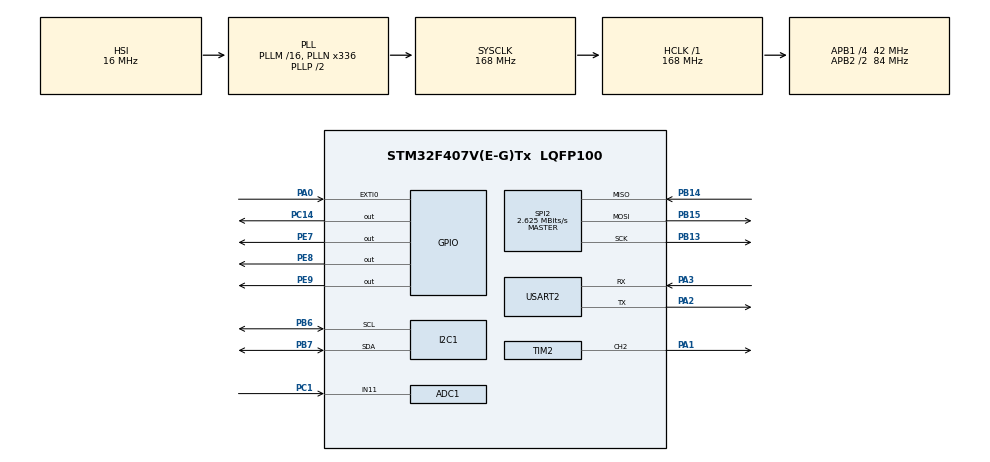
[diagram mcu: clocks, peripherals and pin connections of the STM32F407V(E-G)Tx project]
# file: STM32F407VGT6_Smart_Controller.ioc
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ADC1.Channel-1\#ChannelRegularConversion=ADC_CHANNEL_11
ADC1.ContinuousConvMode=ENABLE
ADC1.DMAContinuousRequests=ENABLE
ADC1.InjNumberOfConversion=0
ADC1.NbrOfConversionFlag=1
ADC1.Rank-1\#ChannelRegularConversion=1
ADC1.SamplingTime-1\#ChannelRegularConversion=ADC_SAMPLETIME_56CYCLES
ADC1.master=1
Dma.ADC1.0.Direction=DMA_PERIPH_TO_MEMORY
Dma.ADC1.0.FIFOMode=DMA_FIFOMODE_DISABLE
Dma.ADC1.0.Instance=DMA2_Stream0
Dma.ADC1.0.MemDataAlignment=DMA_MDATAALIGN_HALFWORD
Dma.ADC1.0.MemInc=DMA_MINC_ENABLE
Dma.ADC1.0.Mode=DMA_CIRCULAR
Dma.ADC1.0.PeriphDataAlignment=DMA_PDATAALIGN_HALFWORD
Dma.ADC1.0.PeriphInc=DMA_PINC_DISABLE
Dma.ADC1.0.Priority=DMA_PRIORITY_LOW
Dma.Request0=ADC1
Dma.Request1=USART2_RX
Dma.USART2_RX.1.Direction=DMA_PERIPH_TO_MEMORY
Dma.USART2_RX.1.FIFOMode=DMA_FIFOMODE_DISABLE
Dma.USART2_RX.1.Instance=DMA1_Stream5
Dma.USART2_RX.1.MemDataAlignment=DMA_MDATAALIGN_BYTE
Dma.USART2_RX.1.MemInc=DMA_MINC_ENABLE
Dma.USART2_RX.1.Mode=DMA_NORMAL
Dma.USART2_RX.1.PeriphDataAlignment=DMA_PDATAALIGN_BYTE
Dma.USART2_RX.1.PeriphInc=DMA_PINC_DISABLE
Dma.USART2_RX.1.Priority=DMA_PRIORITY_LOW
Mcu.Family=STM32F4
Mcu.Name=STM32F407V(E-G)Tx
Mcu.Package=LQFP100
NVIC.DMA1_Stream5_IRQn=true\:0\:0\:false\:false\:true\:false\:true\:true
NVIC.DMA2_Stream0_IRQn=true\:0\:0\:false\:false\:true\:false\:true\:true
NVIC.EXTI0_IRQn=true\:0\:0\:false\:false\:true\:true\:true\:true
NVIC.PriorityGroup=NVIC_PRIORITYGROUP_4
NVIC.USART2_IRQn=true\:0\:0\:false\:false\:true\:true\:true\:true
PA0-WKUP.GPIO_PuPd=GPIO_PULLDOWN
PA0-WKUP.Signal=GPXTI0
PA1.Signal=S_TIM2_CH2
PA13.Mode=Serial_Wire
PA13.Signal=SYS_JTMS-SWDIO
PA14.Mode=Serial_Wire
PA14.Signal=SYS_JTCK-SWCLK
PA2.Mode=Asynchronous
PA2.Signal=USART2_TX
PA3.Mode=Asynchronous
PA3.Signal=USART2_RX
PB13.Mode=Full_Duplex_Master
PB13.Signal=SPI2_SCK
PB14.Mode=Full_Duplex_Master
PB14.Signal=SPI2_MISO
PB15.Mode=Full_Duplex_Master
PB15.Signal=SPI2_MOSI
PB6.Mode=I2C
PB6.Signal=I2C1_SCL
PB7.Mode=I2C
PB7.Signal=I2C1_SDA
PC1.Signal=ADCx_IN11
PC14-OSC32_IN.Signal=GPIO_Output
PE7.PinState=GPIO_PIN_SET
PE7.Signal=GPIO_Output
PE8.Signal=GPIO_Output
PE9.Signal=GPIO_Output
ProjectManager.HeapSize=0x200
ProjectManager.StackSize=0x400
ProjectManager.TargetToolchain=STM32CubeIDE
RCC.48MHZClocksFreq_Value=84000000
RCC.AHBFreq_Value=168000000
RCC.APB1CLKDivider=RCC_HCLK_DIV4
RCC.APB1Freq_Value=42000000
RCC.APB1TimFreq_Value=84000000
RCC.APB2CLKDivider=RCC_HCLK_DIV2
RCC.APB2Freq_Value=84000000
RCC.APB2TimFreq_Value=168000000
RCC.CortexFreq_Value=168000000
RCC.HCLKFreq_Value=168000000
RCC.HSE_VALUE=25000000
RCC.HSI_VALUE=16000000
RCC.LSE_VALUE=32768
RCC.PLLN=336
RCC.SYSCLKFreq_VALUE=168000000
RCC.SYSCLKSource=RCC_SYSCLKSOURCE_PLLCLK
RCC.VCOOutputFreq_Value=336000000
SH.ADCx_IN11.0=ADC1_IN11,IN11
SH.S_TIM2_CH2.0=TIM2_CH2,PWM Generation2 CH2
SPI2.BaudRatePrescaler=SPI_BAUDRATEPRESCALER_16
SPI2.CalculateBaudRate=2.625 MBits/s
SPI2.Direction=SPI_DIRECTION_2LINES
SPI2.Mode=SPI_MODE_MASTER
SPI2.VirtualType=VM_MASTER
TIM2.Channel-PWM\ Generation2\ CH2=TIM_CHANNEL_2
TIM2.Period=999
TIM2.Prescaler=83
USART2.VirtualMode=VM_ASYNC
board=custom

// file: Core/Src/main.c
/* USER CODE BEGIN Header */
/**
  ******************************************************************************
  * @file           : main.c
  * @brief          : Main program body
  ******************************************************************************
  * @attention
  *
  * Copyright (c) 2026 STMicroelectronics.
  * All rights reserved.
  *
  * This software is licensed under terms that can be found in the LICENSE file
  * in the root directory of this software component.
  * If no LICENSE file comes with this software, it is provided AS-IS.
  *
  ******************************************************************************
  */
/* USER CODE END Header */
#include "main.h"

/* USER CODE BEGIN Includes */
#include <stdio.h>
#include <string.h>
#include "protocol.h"
#include "analog_input.h"
#include "pwm.h"
#include "temperature_sensor.h"
#include "oled.h"
#include "system_state.h"
#include "fault_manager.h"
/* USER CODE END Includes */

/* USER CODE BEGIN PD */

#define SENSOR_UPDATE_PERIOD_MS     500U
#define DISPLAY_UPDATE_PERIOD_MS    200U
#define TEMP_SENSOR_FAIL_LIMIT      3U

/* AUTO mode: 25 C = 0%, 40 C = 100% PWM */
#define AUTO_TEMP_MIN_X10          250

#define AUTO_TEMP_MAX_X10          400

/* USER CODE END PD */

ADC_HandleTypeDef hadc1;
DMA_HandleTypeDef hdma_adc1;

I2C_HandleTypeDef hi2c1;

SPI_HandleTypeDef hspi2;

TIM_HandleTypeDef htim2;

UART_HandleTypeDef huart2;
DMA_HandleTypeDef hdma_usart2_rx;

/* USER CODE BEGIN PV */

volatile uint8_t button_event = 0;

volatile uint8_t uart_command_ready = 0;

volatile uint16_t uart_rx_length = 0;

/* Data received by UART DMA */
uint8_t uart_rx_buffer[UART_RX_BUFFER_SIZE + 1U];

/* Stores one complete UART command */
char uart_line_buffer[UART_RX_BUFFER_SIZE + 1U];

static uint16_t uart_line_length = 0U;

/* UART response */
char uart_tx_buffer[UART_TX_BUFFER_SIZE];

/* Result after ASCII parsing. */
ProtocolCommand_t received_command;

/*
 * Latest valid temperature.
 *
 * Unit:
 * Celsius x10
 *
 * 25.5 C = 255
 */
static int16_t latest_temperature_x10 = 0;

/*
 * Software timing.
 */
static uint32_t sensor_tick = 0;
static uint32_t display_tick = 0;
static uint8_t temp_sensor_fail_count = 0;

TempSensorStatus_t debug_temp_init;
TempSensorStatus_t debug_temp_read;

/* USER CODE END PV */

void SystemClock_Config(void);
static void MX_GPIO_Init(void);
static void MX_DMA_Init(void);
static void MX_ADC1_Init(void);
static void MX_I2C1_Init(void);
static void MX_TIM2_Init(void);
static void MX_SPI2_Init(void);
static void MX_USART2_UART_Init(void);
/* USER CODE BEGIN PFP */

static void App_SendText(const char *text);

static void App_StartUartReceive(void);

static const char *App_StateToString(SystemState_t state);

static void App_SendStatus(void);

static void App_ProcessUartCommand(void);

static void App_HandleCommand(void);

static void App_ProcessSensor(void);

static void App_ProcessControl(void);

static void App_ProcessDisplay(void);

static void App_CheckCriticalFault(void);

static void App_AttemptFaultRecovery(void);

/* USER CODE END PFP */

/* USER CODE BEGIN 0 */

static void App_SendText(
    const char *text
)
{
    HAL_UART_Transmit(
        &huart2,

        (uint8_t *)text,

        (uint16_t)strlen(text),

        100
    );
}

static void App_StartUartReceive(void)
{
    uart_rx_length = 0U;

    /*
     * Clear old contents.
     */
    memset(
        uart_rx_buffer,
        0,
        sizeof(uart_rx_buffer)
    );

    /* Start UART DMA receive with IDLE detection */
    HAL_UARTEx_ReceiveToIdle_DMA(
        &huart2,

        uart_rx_buffer,

        UART_RX_BUFFER_SIZE
    );

    /* Half-transfer event is not needed */
    if (huart2.hdmarx != NULL)
    {
        __HAL_DMA_DISABLE_IT(
            huart2.hdmarx,
            DMA_IT_HT
        );
    }
}

static const char *App_StateToString(
    SystemState_t state
)
{
    switch (state)
    {
        case SYSTEM_STATE_INIT:
            return "INIT";

        case SYSTEM_STATE_IDLE:
            return "IDLE";

        case SYSTEM_STATE_MANUAL:
            return "MANUAL";

        case SYSTEM_STATE_AUTO:
            return "AUTO";

        case SYSTEM_STATE_FAULT:
            return "FAULT";

        default:
            return "UNKNOWN";
    }
}

/*
 * Periodically read I2C
 * temperature sensor.
 */
static void App_ProcessSensor(void)
{
    int16_t temperature;

    if ((HAL_GetTick() - sensor_tick) < SENSOR_UPDATE_PERIOD_MS)
    {
        return;
    }

    sensor_tick = HAL_GetTick();

    if (TempSensor_ReadCelsiusX10(&temperature) == TEMP_SENSOR_OK)
    {
        latest_temperature_x10 = temperature;

        /* Sensor is working normally */
        temp_sensor_fail_count = 0U;
    }
    else
    {
        if (temp_sensor_fail_count < TEMP_SENSOR_FAIL_LIMIT)
        {
            temp_sensor_fail_count++;
        }

        /* Enter FAULT after 3 consecutive failures */
        if (temp_sensor_fail_count >= TEMP_SENSOR_FAIL_LIMIT)
        {
            FaultManager_Set(FAULT_TEMP_SENSOR);
        }
    }
}

/*
 * If a critical hardware fault
 * exists, force the system into
 * FAULT state.
 */
static void App_CheckCriticalFault(void)
{
    if (FaultManager_HasCritical())
    {
        if (SystemState_Get() != SYSTEM_STATE_FAULT)
        {
            SystemState_Set(SYSTEM_STATE_FAULT);
        }

        PWM_SetDuty(0);
    }
}

/*
 * System control behavior.
 */
static void App_ProcessControl(void)
{
    SystemState_t state;

    uint8_t duty;

    int32_t temperature;

    state = SystemState_Get();

    switch (state)
    {
        case SYSTEM_STATE_INIT:

            if (PWM_GetDuty() != 0U)
            {
                PWM_SetDuty(0);
            }

            break;

        case SYSTEM_STATE_IDLE:

            if (PWM_GetDuty() != 0U)
            {
                PWM_SetDuty(0);
            }

            break;

		/* MANUAL mode: PWM is controlled by UART command */
        case SYSTEM_STATE_MANUAL:

            break;

        /*
         * AUTO mode:
         *
         * Temperature automatically
         * determines PWM duty.
         */
        case SYSTEM_STATE_AUTO:

            temperature = latest_temperature_x10;

            if (temperature <= AUTO_TEMP_MIN_X10)
            {
                duty = 0U;
            }
            else if (temperature >= AUTO_TEMP_MAX_X10)
            {
                duty = 100U;
            }
            else
            {
                /*
                 * Linear mapping:
                 *
                 * 25 C -> 0%
                 * 40 C -> 100%
                 */
                duty = (uint8_t)(((temperature - AUTO_TEMP_MIN_X10)*100L) /(AUTO_TEMP_MAX_X10 - AUTO_TEMP_MIN_X10));
            }

            PWM_SetDuty(duty);

            break;

        case SYSTEM_STATE_FAULT:

            if (PWM_GetDuty() != 0U)
            {
                PWM_SetDuty(0);
            }

            break;

        default:

            break;
    }
}

/* Re-check hardware after clearing faults */
static void App_AttemptFaultRecovery(void)
{
    FaultManager_ClearAll();

    /*
     * Check temperature sensor.
     */
    if (TempSensor_Init() !=TEMP_SENSOR_OK)
    {
        FaultManager_Set(FAULT_TEMP_SENSOR);
    }

    if (FaultManager_HasCritical())
    {
        SystemState_Set(SYSTEM_STATE_FAULT);

        PWM_SetDuty(0);
    }
    else
    {
        SystemState_Set(SYSTEM_STATE_IDLE);

        PWM_SetDuty(0);
    }
}

static void App_SendStatus(void)
{
    uint16_t fault;
    int32_t temperature;
    int32_t positive_temperature;

    fault = FaultManager_Get();

    temperature = latest_temperature_x10;

    /*
     * Temperature sensor fault
     */
    if ((fault & FAULT_TEMP_SENSOR) != 0U)
    {
        snprintf(
            uart_tx_buffer,
            sizeof(uart_tx_buffer),
            "MODE=%s TEMP=ERR ADC=%u PWM=%u FAULT=0x%04X\r\n",
            App_StateToString(SystemState_Get()),
            (unsigned int)AnalogInput_GetRaw(),
            (unsigned int)PWM_GetDuty(),
            (unsigned int)fault
        );
    }

    /*
     * Negative temperature
     */
    else if (temperature < 0)
    {
        positive_temperature = -temperature;

        snprintf(
            uart_tx_buffer,
            sizeof(uart_tx_buffer),
            "MODE=%s TEMP=-%ld.%ldC ADC=%u PWM=%u FAULT=0x%04X\r\n",
            App_StateToString(SystemState_Get()),
            (long)(positive_temperature / 10),
            (long)(positive_temperature % 10),
            (unsigned int)AnalogInput_GetRaw(),
            (unsigned int)PWM_GetDuty(),
            (unsigned int)fault
        );
    }

    /*
     * Positive temperature
     */
    else
    {
        snprintf(
            uart_tx_buffer,
            sizeof(uart_tx_buffer),
            "MODE=%s TEMP=%ld.%ldC ADC=%u PWM=%u FAULT=0x%04X\r\n",
            App_StateToString(SystemState_Get()),
            (long)(temperature / 10),
            (long)(temperature % 10),
            (unsigned int)AnalogInput_GetRaw(),
            (unsigned int)PWM_GetDuty(),
            (unsigned int)fault
        );
    }

    App_SendText(uart_tx_buffer);
}

static void App_ProcessUartCommand(void)
{
    ProtocolStatus_t status;

    uart_line_buffer[uart_line_length] = '\0';

    status = Protocol_ParseAscii(uart_line_buffer, &received_command);

    if (status == PROTOCOL_OK)
    {
        App_HandleCommand();
    }
    else if (status == PROTOCOL_INVALID_COMMAND)
    {
        FaultManager_Set(FAULT_INVALID_COMMAND);

        App_SendText("ERR UNKNOWN COMMAND\r\n");
    }
    else if (status == PROTOCOL_INVALID_PARAMETER)
    {
        FaultManager_Set(FAULT_INVALID_PARAMETER);

        App_SendText( "ERR INVALID PARAMETER\r\n");
    }

    /* Ready for next command */
    uart_line_length = 0U;

    uart_line_buffer[0] = '\0';
}

/*
 * UART command dispatcher.
 */
static void App_HandleCommand(void)
{
    switch (received_command.command)
    {
        case PROTOCOL_CMD_PING:
        {
            App_SendText("PONG\r\n");

            break;
        }

        case PROTOCOL_CMD_START:
        {
            if (FaultManager_HasCritical())
            {
                App_SendText( "ERR CRITICAL FAULT\r\n");
            }
            else
            {
                SystemState_Set(SYSTEM_STATE_MANUAL);

                App_SendText("OK MODE=MANUAL\r\n");
            }

            break;
        }

        case PROTOCOL_CMD_STOP:
        {
            PWM_SetDuty(0);

            if (SystemState_Get() != SYSTEM_STATE_FAULT)
            {
                SystemState_Set(SYSTEM_STATE_IDLE);
            }

            snprintf(
                uart_tx_buffer,
                sizeof(uart_tx_buffer),

                "OK MODE=%s PWM=0\r\n",

                App_StateToString(
                    SystemState_Get()
                )
            );

            App_SendText( uart_tx_buffer);

            break;
        }

        case PROTOCOL_CMD_SET_PWM:
        {
            uint16_t requested_duty;

            requested_duty = received_command.data;

            if (SystemState_Get() != SYSTEM_STATE_MANUAL)
            {
                App_SendText("ERR MODE NOT MANUAL\r\n");

                break;
            }

            if (requested_duty > 100U)
            {
                FaultManager_Set(FAULT_INVALID_PARAMETER);

                App_SendText("ERR PWM RANGE 0-100\r\n");

                break;
            }

            PWM_SetDuty((uint8_t)requested_duty);

            snprintf(
                uart_tx_buffer,
                sizeof(uart_tx_buffer),

                "OK PWM=%u\r\n",

                (unsigned int)
                    PWM_GetDuty()
            );

            App_SendText(uart_tx_buffer);

            break;
        }

        case PROTOCOL_CMD_GET_STATUS:
        {
            App_SendStatus();

            break;
        }

        case PROTOCOL_CMD_AUTO_MODE:
        {
            if (FaultManager_HasCritical())
            {
                App_SendText("ERR CRITICAL FAULT\r\n");
            }
            else
            {
                SystemState_Set(SYSTEM_STATE_AUTO);

                App_SendText("OK MODE=AUTO\r\n");
            }

            break;
        }

        case PROTOCOL_CMD_MANUAL_MODE:
        {
            if (FaultManager_HasCritical())
            {
                App_SendText("ERR CRITICAL FAULT\r\n");
            }
            else
            {
                SystemState_Set(SYSTEM_STATE_MANUAL);

                App_SendText("OK MODE=MANUAL\r\n");
            }

            break;
        }

        case PROTOCOL_CMD_READ_SENSOR:
        {
            int32_t temperature;

            int32_t positive_temperature;

            if ((FaultManager_Get() & FAULT_TEMP_SENSOR) != 0U)
            {
                App_SendText("ERR TEMP SENSOR\r\n");

                break;
            }

            temperature = latest_temperature_x10;

            if (temperature < 0)
            {
                positive_temperature = -temperature;

                snprintf(
                    uart_tx_buffer,
                    sizeof(uart_tx_buffer),

                    "TEMP=-%ld.%ldC\r\n",

                    (long)
                        (positive_temperature / 10),

                    (long)
                        (positive_temperature % 10)
                );
            }
            else
            {
                snprintf(
                    uart_tx_buffer,
                    sizeof(uart_tx_buffer),

                    "TEMP=%ld.%ldC\r\n",

                    (long)
                        (temperature / 10),

                    (long)
                        (temperature % 10)
                );
            }

            App_SendText(uart_tx_buffer);

            break;
        }

        case PROTOCOL_CMD_CLEAR_FAULT:
        {
            App_AttemptFaultRecovery();

            if (FaultManager_HasCritical())
            {
                snprintf(
                    uart_tx_buffer,
                    sizeof(uart_tx_buffer),

                    "ERR FAULT=0x%04X\r\n",

                    (unsigned int)
                        FaultManager_Get()
                );
            }
            else
            {
                snprintf(
                    uart_tx_buffer,
                    sizeof(uart_tx_buffer),

                    "OK FAULT=0x%04X MODE=%s\r\n",

                    (unsigned int)
                        FaultManager_Get(),

                    App_StateToString(
                        SystemState_Get()
                    )
                );
            }

            App_SendText(uart_tx_buffer);

            break;
        }

        case PROTOCOL_CMD_LED_ON:
        {
            HAL_GPIO_WritePin(
                GPIOC,
                GPIO_PIN_14,
                GPIO_PIN_SET
            );

            App_SendText("OK LED=ON\r\n");

            break;
        }

        case PROTOCOL_CMD_LED_OFF:
        {
            HAL_GPIO_WritePin(
                GPIOC,
                GPIO_PIN_14,
                GPIO_PIN_RESET
            );

            App_SendText(
                "OK LED=OFF\r\n"
            );

            break;
        }

        case PROTOCOL_CMD_LED_TOGGLE:
        {
            HAL_GPIO_TogglePin(
                GPIOC,
                GPIO_PIN_14
            );

            App_SendText(
                "OK LED=TOGGLE\r\n"
            );

            break;
        }

        case PROTOCOL_CMD_READ_ADC:
        {
            snprintf(
                uart_tx_buffer,
                sizeof(uart_tx_buffer),

                "ADC=%u\r\n",

                (unsigned int)
                    AnalogInput_GetRaw()
            );

            App_SendText(uart_tx_buffer);

            break;
        }

        default:
        {
            App_SendText("ERR UNKNOWN COMMAND\r\n");

            break;
        }
    }
}

static void App_ProcessDisplay(void)
{
    char text[22];
    SystemState_t state;

    if ((HAL_GetTick() - display_tick) < DISPLAY_UPDATE_PERIOD_MS)
    {
        return;
    }

    display_tick = HAL_GetTick();

    OLED_Clear();

    /* =========================
     * MODE
     * ========================= */
    state = SystemState_Get();

    switch (state)
    {
        case SYSTEM_STATE_INIT:
            OLED_DrawString(0, 0, "MODE: INIT");
            break;

        case SYSTEM_STATE_IDLE:
            OLED_DrawString(0, 0, "MODE: IDLE");
            break;

        case SYSTEM_STATE_MANUAL:
            OLED_DrawString(0, 0, "MODE: MANUAL");
            break;

        case SYSTEM_STATE_AUTO:
            OLED_DrawString(0, 0, "MODE: AUTO");
            break;

        case SYSTEM_STATE_FAULT:
            OLED_DrawString(0, 0, "MODE: FAULT");
            break;

        default:
            OLED_DrawString(0, 0, "MODE: UNKNOWN");
            break;
    }

    /* =========================
     * TEMPERATURE
     * ========================= */
    snprintf(
        text,
        sizeof(text),
        "TEMP: %d.%dC",
        latest_temperature_x10 / 10,
        (latest_temperature_x10 < 0)
            ? -(latest_temperature_x10 % 10)
            :  (latest_temperature_x10 % 10)
    );

    OLED_DrawString(0, 1, text);

    /* =========================
     * ADC
     * ========================= */
    snprintf(
        text,
        sizeof(text),
        "ADC: %u",
        (unsigned int)AnalogInput_GetRaw()
    );

    OLED_DrawString(0, 2, text);

    /* =========================
     * PWM
     * ========================= */
    snprintf(
        text,
        sizeof(text),
        "PWM: %u%%",
        (unsigned int)PWM_GetDuty()
    );

    OLED_DrawString(0, 3, text);

    /* =========================
     * FAULT
     * ========================= */
    if (FaultManager_Get() == 0U)
    {
        OLED_DrawString(0, 4, "FAULT: NONE");
    }
    else
    {
        OLED_DrawString(0, 4, "FAULT: YES");
    }

    OLED_Update();
}

/* USER CODE END 0 */

int main(void)
{

  /* MCU Configuration--------------------------------------------------------*/

  /* Reset of all peripherals, Initializes the Flash interface and the Systick. */
  HAL_Init();

  /* Configure the system clock */
  SystemClock_Config();

  /* Initialize all configured peripherals */
  MX_GPIO_Init();
  MX_DMA_Init();
  MX_ADC1_Init();
  MX_I2C1_Init();
  MX_TIM2_Init();
  MX_SPI2_Init();
  MX_USART2_UART_Init();
  /* USER CODE BEGIN 2 */

  FaultManager_Init();

  SystemState_Init();

  AnalogInput_Init();

  PWM_Init();

  /*
   * SPI OLED
   */

  HAL_Delay(100);

  OLED_Init();

  OLED_Clear();

  OLED_DrawString(0, 0, "SYSTEM START");

  OLED_Update();

  /*
   * I2C temperature sensor
   */
  debug_temp_init = TempSensor_Init();

  if (debug_temp_init == TEMP_SENSOR_OK)
  {
      debug_temp_read = TempSensor_ReadCelsiusX10(&latest_temperature_x10);
  }
  else
  {
      debug_temp_read = TEMP_SENSOR_ERROR;
  }

  if ((debug_temp_init != TEMP_SENSOR_OK) || (debug_temp_read != TEMP_SENSOR_OK))
  {
      FaultManager_Set(FAULT_TEMP_SENSOR);
  }

  /*
   * Decide initial state.
   */
  if (FaultManager_HasCritical())
  {
      SystemState_Set(SYSTEM_STATE_FAULT);
  }
  else
  {
      SystemState_Set(SYSTEM_STATE_IDLE);
  }

  /*
   * Start UART
   * variable-length DMA reception.
   */
  App_StartUartReceive();

  /* USER CODE END 2 */

  /* Infinite loop */
  while (1)
  {

    /* USER CODE BEGIN 3 */

	  AnalogInput_Process();

	  App_ProcessSensor();

	  App_CheckCriticalFault();

	  App_ProcessControl();

	  App_ProcessDisplay();

	  App_CheckCriticalFault();

	  if (button_event)
	  {
		  button_event = 0;

		  HAL_GPIO_TogglePin(
			  GPIOC,
			  GPIO_PIN_14
		  );
	  }

	  if (uart_command_ready)
	  {
	      uint16_t received_length;
	      uint16_t i;

	      uart_command_ready = 0;

	      received_length = uart_rx_length;

	      if (received_length > UART_RX_BUFFER_SIZE)
	      {
	          received_length = UART_RX_BUFFER_SIZE;
	      }

	      /*
	       * Add received bytes to the
	       * command buffer.
	       */
	      for (i = 0U; i < received_length; i++)
	      {
	          char ch = (char)uart_rx_buffer[i];

	          /*
	           * Enter means one command
	           * is complete.
	           */
	          if ((ch == '\r') || (ch == '\n'))
	          {
	              if (uart_line_length > 0U)
	              {
	                  App_ProcessUartCommand();
	              }
	          }
	          else
	          {
	              /*
	               * Add character to
	               * current command.
	               */
	              if (uart_line_length < UART_RX_BUFFER_SIZE)
	              {
	                  uart_line_buffer[uart_line_length] = ch;

	                  uart_line_length++;
	              }
	              else
	              {
	                  /*
	                   * Command is too long.
	                   */
	                  uart_line_length = 0U;

	                  App_SendText("ERR COMMAND TOO LONG\r\n");
	              }
	          }
	      }

	      /* Receive next UART data */
	      App_StartUartReceive();
	  }
  }
  /* USER CODE END 3 */
}

void SystemClock_Config(void)
{
  RCC_OscInitTypeDef RCC_OscInitStruct = {0};
  RCC_ClkInitTypeDef RCC_ClkInitStruct = {0};

  /** Configure the main internal regulator output voltage
  */
  __HAL_RCC_PWR_CLK_ENABLE();
  __HAL_PWR_VOLTAGESCALING_CONFIG(PWR_REGULATOR_VOLTAGE_SCALE1);

  /** Initializes the RCC Oscillators according to the specified parameters
  * in the RCC_OscInitTypeDef structure.
  */
  RCC_OscInitStruct.OscillatorType = RCC_OSCILLATORTYPE_HSI;
  RCC_OscInitStruct.HSIState = RCC_HSI_ON;
  RCC_OscInitStruct.HSICalibrationValue = RCC_HSICALIBRATION_DEFAULT;
  RCC_OscInitStruct.PLL.PLLState = RCC_PLL_ON;
  RCC_OscInitStruct.PLL.PLLSource = RCC_PLLSOURCE_HSI;
  RCC_OscInitStruct.PLL.PLLM = 16;
  RCC_OscInitStruct.PLL.PLLN = 336;
  RCC_OscInitStruct.PLL.PLLP = RCC_PLLP_DIV2;
  RCC_OscInitStruct.PLL.PLLQ = 4;
  if (HAL_RCC_OscConfig(&RCC_OscInitStruct) != HAL_OK)
  {
    Error_Handler();
  }

  /** Initializes the CPU, AHB and APB buses clocks
  */
  RCC_ClkInitStruct.ClockType = RCC_CLOCKTYPE_HCLK|RCC_CLOCKTYPE_SYSCLK
                              |RCC_CLOCKTYPE_PCLK1|RCC_CLOCKTYPE_PCLK2;
  RCC_ClkInitStruct.SYSCLKSource = RCC_SYSCLKSOURCE_PLLCLK;
  RCC_ClkInitStruct.AHBCLKDivider = RCC_SYSCLK_DIV1;
  RCC_ClkInitStruct.APB1CLKDivider = RCC_HCLK_DIV4;
  RCC_ClkInitStruct.APB2CLKDivider = RCC_HCLK_DIV2;

  if (HAL_RCC_ClockConfig(&RCC_ClkInitStruct, FLASH_LATENCY_5) != HAL_OK)
  {
    Error_Handler();
  }
}

static void MX_ADC1_Init(void)
{

  ADC_ChannelConfTypeDef sConfig = {0};

  /** Configure the global features of the ADC (Clock, Resolution, Data Alignment and number of conversion)
  */
  hadc1.Instance = ADC1;
  hadc1.Init.ClockPrescaler = ADC_CLOCK_SYNC_PCLK_DIV4;
  hadc1.Init.Resolution = ADC_RESOLUTION_12B;
  hadc1.Init.ScanConvMode = DISABLE;
  hadc1.Init.ContinuousConvMode = ENABLE;
  hadc1.Init.DiscontinuousConvMode = DISABLE;
  hadc1.Init.ExternalTrigConvEdge = ADC_EXTERNALTRIGCONVEDGE_NONE;
  hadc1.Init.ExternalTrigConv = ADC_SOFTWARE_START;
  hadc1.Init.DataAlign = ADC_DATAALIGN_RIGHT;
  hadc1.Init.NbrOfConversion = 1;
  hadc1.Init.DMAContinuousRequests = ENABLE;
  hadc1.Init.EOCSelection = ADC_EOC_SINGLE_CONV;
  if (HAL_ADC_Init(&hadc1) != HAL_OK)
  {
    Error_Handler();
  }

  /** Configure for the selected ADC regular channel its corresponding rank in the sequencer and its sample time.
  */
  sConfig.Channel = ADC_CHANNEL_11;
  sConfig.Rank = 1;
  sConfig.SamplingTime = ADC_SAMPLETIME_56CYCLES;
  if (HAL_ADC_ConfigChannel(&hadc1, &sConfig) != HAL_OK)
  {
    Error_Handler();
  }

}

static void MX_I2C1_Init(void)
{

  hi2c1.Instance = I2C1;
  hi2c1.Init.ClockSpeed = 100000;
  hi2c1.Init.DutyCycle = I2C_DUTYCYCLE_2;
  hi2c1.Init.OwnAddress1 = 0;
  hi2c1.Init.AddressingMode = I2C_ADDRESSINGMODE_7BIT;
  hi2c1.Init.DualAddressMode = I2C_DUALADDRESS_DISABLE;
  hi2c1.Init.OwnAddress2 = 0;
  hi2c1.Init.GeneralCallMode = I2C_GENERALCALL_DISABLE;
  hi2c1.Init.NoStretchMode = I2C_NOSTRETCH_DISABLE;
  if (HAL_I2C_Init(&hi2c1) != HAL_OK)
  {
    Error_Handler();
  }

}

static void MX_SPI2_Init(void)
{

  /* SPI2 parameter configuration*/
  hspi2.Instance = SPI2;
  hspi2.Init.Mode = SPI_MODE_MASTER;
  hspi2.Init.Direction = SPI_DIRECTION_2LINES;
  hspi2.Init.DataSize = SPI_DATASIZE_8BIT;
  hspi2.Init.CLKPolarity = SPI_POLARITY_LOW;
  hspi2.Init.CLKPhase = SPI_PHASE_1EDGE;
  hspi2.Init.NSS = SPI_NSS_SOFT;
  hspi2.Init.BaudRatePrescaler = SPI_BAUDRATEPRESCALER_16;
  hspi2.Init.FirstBit = SPI_FIRSTBIT_MSB;
  hspi2.Init.TIMode = SPI_TIMODE_DISABLE;
  hspi2.Init.CRCCalculation = SPI_CRCCALCULATION_DISABLE;
  hspi2.Init.CRCPolynomial = 10;
  if (HAL_SPI_Init(&hspi2) != HAL_OK)
  {
    Error_Handler();
  }

}

static void MX_TIM2_Init(void)
{

  TIM_MasterConfigTypeDef sMasterConfig = {0};
  TIM_OC_InitTypeDef sConfigOC = {0};

  htim2.Instance = TIM2;
  htim2.Init.Prescaler = 83;
  htim2.Init.CounterMode = TIM_COUNTERMODE_UP;
  htim2.Init.Period = 999;
  htim2.Init.ClockDivision = TIM_CLOCKDIVISION_DIV1;
  htim2.Init.AutoReloadPreload = TIM_AUTORELOAD_PRELOAD_DISABLE;
  if (HAL_TIM_PWM_Init(&htim2) != HAL_OK)
  {
    Error_Handler();
  }
  sMasterConfig.MasterOutputTrigger = TIM_TRGO_RESET;
  sMasterConfig.MasterSlaveMode = TIM_MASTERSLAVEMODE_DISABLE;
  if (HAL_TIMEx_MasterConfigSynchronization(&htim2, &sMasterConfig) != HAL_OK)
  {
    Error_Handler();
  }
  sConfigOC.OCMode = TIM_OCMODE_PWM1;
  sConfigOC.Pulse = 0;
  sConfigOC.OCPolarity = TIM_OCPOLARITY_HIGH;
  sConfigOC.OCFastMode = TIM_OCFAST_DISABLE;
  if (HAL_TIM_PWM_ConfigChannel(&htim2, &sConfigOC, TIM_CHANNEL_2) != HAL_OK)
  {
    Error_Handler();
  }
  HAL_TIM_MspPostInit(&htim2);

}

static void MX_USART2_UART_Init(void)
{

  huart2.Instance = USART2;
  huart2.Init.BaudRate = 115200;
  huart2.Init.WordLength = UART_WORDLENGTH_8B;
  huart2.Init.StopBits = UART_STOPBITS_1;
  huart2.Init.Parity = UART_PARITY_NONE;
  huart2.Init.Mode = UART_MODE_TX_RX;
  huart2.Init.HwFlowCtl = UART_HWCONTROL_NONE;
  huart2.Init.OverSampling = UART_OVERSAMPLING_16;
  if (HAL_UART_Init(&huart2) != HAL_OK)
  {
    Error_Handler();
  }

}

static void MX_DMA_Init(void)
{

  /* DMA controller clock enable */
  __HAL_RCC_DMA2_CLK_ENABLE();
  __HAL_RCC_DMA1_CLK_ENABLE();

  /* DMA interrupt init */
  /* DMA1_Stream5_IRQn interrupt configuration */
  HAL_NVIC_SetPriority(DMA1_Stream5_IRQn, 0, 0);
  HAL_NVIC_EnableIRQ(DMA1_Stream5_IRQn);
  /* DMA2_Stream0_IRQn interrupt configuration */
  HAL_NVIC_SetPriority(DMA2_Stream0_IRQn, 0, 0);
  HAL_NVIC_EnableIRQ(DMA2_Stream0_IRQn);

}

static void MX_GPIO_Init(void)
{
  GPIO_InitTypeDef GPIO_InitStruct = {0};

  /* GPIO Ports Clock Enable */
  __HAL_RCC_GPIOC_CLK_ENABLE();
  __HAL_RCC_GPIOA_CLK_ENABLE();
  __HAL_RCC_GPIOE_CLK_ENABLE();
  __HAL_RCC_GPIOB_CLK_ENABLE();

  /*Configure GPIO pin Output Level */
  HAL_GPIO_WritePin(GPIOC, GPIO_PIN_14, GPIO_PIN_RESET);

  /*Configure GPIO pin Output Level */
  HAL_GPIO_WritePin(GPIOE, GPIO_PIN_7, GPIO_PIN_SET);

  /*Configure GPIO pin Output Level */
  HAL_GPIO_WritePin(GPIOE, GPIO_PIN_8|GPIO_PIN_9, GPIO_PIN_RESET);

  /*Configure GPIO pin : PC14 */
  GPIO_InitStruct.Pin = GPIO_PIN_14;
  GPIO_InitStruct.Mode = GPIO_MODE_OUTPUT_PP;
  GPIO_InitStruct.Pull = GPIO_NOPULL;
  GPIO_InitStruct.Speed = GPIO_SPEED_FREQ_LOW;
  HAL_GPIO_Init(GPIOC, &GPIO_InitStruct);

  /*Configure GPIO pin : PA0 */
  GPIO_InitStruct.Pin = GPIO_PIN_0;
  GPIO_InitStruct.Mode = GPIO_MODE_IT_RISING;
  GPIO_InitStruct.Pull = GPIO_PULLDOWN;
  HAL_GPIO_Init(GPIOA, &GPIO_InitStruct);

  /*Configure GPIO pins : PE7 PE8 PE9 */
  GPIO_InitStruct.Pin = GPIO_PIN_7|GPIO_PIN_8|GPIO_PIN_9;
  GPIO_InitStruct.Mode = GPIO_MODE_OUTPUT_PP;
  GPIO_InitStruct.Pull = GPIO_NOPULL;
  GPIO_InitStruct.Speed = GPIO_SPEED_FREQ_LOW;
  HAL_GPIO_Init(GPIOE, &GPIO_InitStruct);

  /* EXTI interrupt init*/
  HAL_NVIC_SetPriority(EXTI0_IRQn, 0, 0);
  HAL_NVIC_EnableIRQ(EXTI0_IRQn);

}

/* USER CODE BEGIN 4 */

void HAL_GPIO_EXTI_Callback(uint16_t GPIO_PIN)
{
	if(GPIO_PIN == GPIO_PIN_0)
	{
		button_event = 1;
	}
}

void HAL_UARTEx_RxEventCallback(UART_HandleTypeDef *huart, uint16_t Size)
{
    if (huart->Instance == USART2)
    {
        uart_rx_length = Size;

        uart_command_ready = 1;
    }
}

/* USER CODE END 4 */

void Error_Handler(void)
{
  __disable_irq();
  while (1)
  {
  }
}
